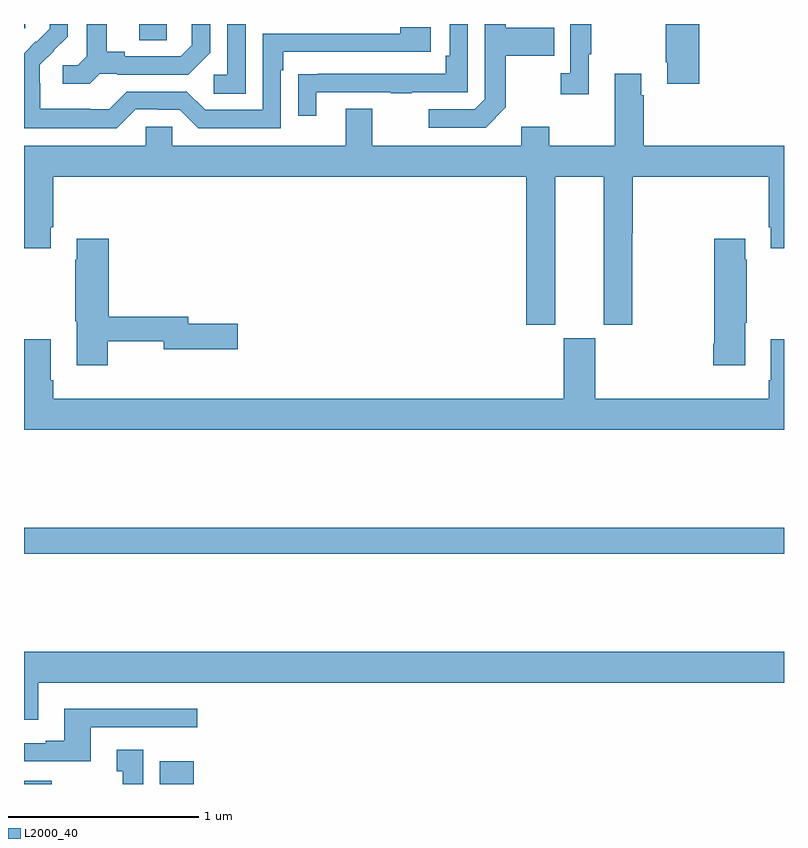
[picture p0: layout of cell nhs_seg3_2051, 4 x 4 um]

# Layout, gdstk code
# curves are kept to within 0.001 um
import gdstk
lib = gdstk.Library(unit=1e-6, precision=1e-09)
def R(c, l, rs):  # rectangles x0, y0, x1, y1
    for r in rs: c.add(gdstk.rectangle(r[:2], r[2:], *l))
def P(c, l, *ps):  # polygons
    for p in ps: c.add(gdstk.Polygon(p, *l))
L2000_40 = (2000, 40)

nhs_seg3_2051 = lib.new_cell('nhs_seg3_2051')
R(nhs_seg3_2051, L2000_40, [(217,684.4,217.147,684.418), (217.715,684.4,217.894,684.52), (217,685.612,221,685.748), (217.607,688.315,217.752,688.4), (217,688.377,217.006,688.4)])
P(nhs_seg3_2051, L2000_40, [(219.973,688.241),(219.985,688.241),(219.985,688.4),(219.876,688.4),(219.876,688.142),(219.825,688.142),(219.825,688.029),(219.973,688.029)],
  [(217.398,688.137),(217.492,688.137),(217.492,688.134),(217.864,688.134),(217.98,688.25),(217.98,688.4),(217.883,688.4),(217.883,688.287),(217.826,688.23),(217.531,688.23),(217.531,688.253),(217.435,688.253),(217.435,688.4),(217.331,688.4),(217.331,688.229),(217.284,688.182),(217.203,688.182),(217.203,688.085),(217.346,688.085)],
  [(219.535,687.961),(219.535,688.234),(219.791,688.234),(219.791,688.381),(219.535,688.381),(219.535,688.4),(219.426,688.4),(219.426,688.005),(219.372,687.951),(219.129,687.951),(219.129,687.855),(219.429,687.855)],
  [(218.539,688.041),(218.929,688.041),(218.929,688.036),(219.041,688.036),(219.041,688.041),(219.336,688.041),(219.336,688.4),(219.24,688.4),(219.24,688.234),(219.22,688.234),(219.22,688.137),(218.545,688.137),(218.545,688.136),(218.443,688.136),(218.443,687.918),(218.539,687.918)],
  [(218.166,688.4),(218.07,688.4),(218.07,688.134),(217.998,688.134),(217.998,688.033),(218.166,688.033)],
  [(220.553,688.4),(220.378,688.4),(220.378,688.198),(220.385,688.198),(220.385,688.086),(220.553,688.086)],
  [(217.587,687.951),(217.703,687.951),(217.703,687.948),(217.821,687.948),(217.917,687.852),(218.352,687.852),(218.352,688.157),(218.365,688.157),(218.365,688.254),(219.142,688.254),(219.142,688.384),(218.981,688.384),(218.981,688.35),(218.256,688.35),(218.256,687.948),(217.953,687.948),(217.857,688.044),(217.542,688.044),(217.449,687.951),(217.349,687.951),(217.349,687.955),(217.086,687.955),(217.086,688.089),(217.084,688.089),(217.084,688.186),(217.23,688.334),(217.23,688.4),(217.136,688.4),(217.136,688.376),(217.065,688.305),(217.062,688.308),(217,688.246),(217,687.851),(217.487,687.851)],
  [(219.796,687.596),(220.052,687.596),(220.052,686.817),(220.2,686.817),(220.2,687.3),(220.205,687.3),(220.205,687.596),(220.919,687.596),(220.919,687.331),(220.931,687.331),(220.931,687.219),(221,687.219),(221,687.76),(220.262,687.76),(220.262,688.025),(220.249,688.025),(220.249,688.138),(220.109,688.138),(220.109,687.76),(219.765,687.76),(219.765,687.859),(219.617,687.859),(219.617,687.76),(218.833,687.76),(218.833,687.955),(218.693,687.955),(218.693,687.76),(217.779,687.76),(217.779,687.858),(217.641,687.858),(217.641,687.76),(217,687.76),(217,687.596),(217.001,687.596),(217.001,687.219),(217.141,687.219),(217.141,687.331),(217.154,687.331),(217.154,687.596),(219.644,687.596),(219.644,686.817),(219.796,686.817)],
  [(220.795,686.827),(220.803,686.827),(220.803,687.158),(220.795,687.158),(220.795,687.271),(220.633,687.271),(220.633,686.716),(220.628,686.716),(220.628,686.604),(220.795,686.604)],
  [(217.44,686.73),(217.736,686.73),(217.736,686.687),(218.125,686.687),(218.125,686.822),(217.864,686.822),(217.864,686.858),(217.445,686.858),(217.445,687.271),(217.277,687.271),(217.277,687.158),(217.27,687.158),(217.27,686.835),(217.277,686.835),(217.277,686.604),(217.44,686.604)],
  [(221,686.74),(220.931,686.74),(220.931,686.524),(220.919,686.524),(220.919,686.428),(220.006,686.428),(220.006,686.745),(219.842,686.745),(219.842,686.428),(217.154,686.428),(217.154,686.524),(217.141,686.524),(217.141,686.74),(217.001,686.74),(217.001,686.627),(217,686.627),(217,686.264),(221,686.264)],
  [(217.075,684.932),(221,684.932),(221,685.096),(217,685.096),(217,684.738),(217.075,684.738)],
  [(217.351,684.699),(217.912,684.699),(217.912,684.796),(217.211,684.796),(217.211,684.628),(217.115,684.628),(217.115,684.615),(217,684.615),(217,684.519),(217.351,684.519)],
  [(217.627,684.58),(217.487,684.58),(217.487,684.467),(217.52,684.467),(217.52,684.4),(217.627,684.4)])

lib.write_gds('nhs_seg3_2051.gds')
